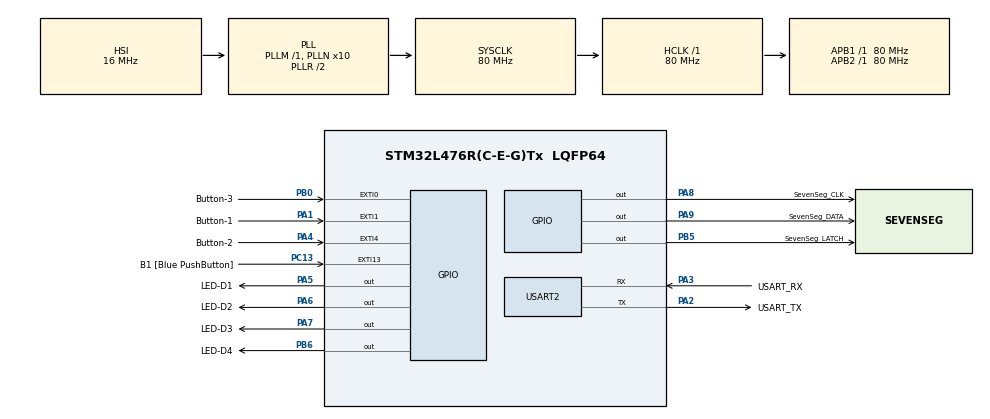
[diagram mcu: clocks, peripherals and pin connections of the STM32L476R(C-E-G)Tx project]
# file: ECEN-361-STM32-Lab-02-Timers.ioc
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Mcu.Family=STM32L4
Mcu.Name=STM32L476R(C-E-G)Tx
Mcu.Package=LQFP64
Mcu.UserConstants=reaction_timer,1
NVIC.EXTI0_IRQn=true\:0\:0\:false\:false\:true\:true\:true\:true
NVIC.EXTI1_IRQn=true\:0\:0\:false\:false\:true\:true\:true\:true
NVIC.EXTI4_IRQn=true\:0\:0\:false\:false\:true\:true\:true\:true
NVIC.PriorityGroup=NVIC_PRIORITYGROUP_4
NVIC.TIM1_TRG_COM_TIM17_IRQn=true\:0\:0\:false\:false\:true\:true\:true\:true
NVIC.TIM1_UP_TIM16_IRQn=true\:0\:0\:false\:false\:true\:true\:true\:true
NVIC.TIM6_DAC_IRQn=true\:0\:0\:false\:false\:true\:true\:true\:true
NVIC.TIM7_IRQn=true\:0\:0\:false\:false\:true\:true\:true\:true
PA0.Signal=ADCx_IN5
PA1.GPIO_Label=Button-1
PA1.GPIO_ModeDefaultEXTI=GPIO_MODE_IT_FALLING
PA1.Signal=GPXTI1
PA13\ (JTMS-SWDIO).GPIO_Label=TMS
PA13\ (JTMS-SWDIO).Mode=Serial_Wire
PA13\ (JTMS-SWDIO).Signal=SYS_JTMS-SWDIO
PA14\ (JTCK-SWCLK).GPIO_Label=TCK
PA14\ (JTCK-SWCLK).Mode=Serial_Wire
PA14\ (JTCK-SWCLK).Signal=SYS_JTCK-SWCLK
PA2.GPIO_Label=USART_TX
PA2.GPIO_Mode=GPIO_MODE_AF_PP
PA2.GPIO_PuPd=GPIO_NOPULL
PA2.GPIO_Speed=GPIO_SPEED_FREQ_VERY_HIGH
PA2.Mode=Asynchronous
PA2.Signal=USART2_TX
PA3.GPIO_Label=USART_RX
PA3.GPIO_Mode=GPIO_MODE_AF_PP
PA3.GPIO_PuPd=GPIO_NOPULL
PA3.GPIO_Speed=GPIO_SPEED_FREQ_VERY_HIGH
PA3.Mode=Asynchronous
PA3.Signal=USART2_RX
PA4.GPIO_Label=Button-2
PA4.GPIO_ModeDefaultEXTI=GPIO_MODE_IT_FALLING
PA4.Signal=GPXTI4
PA5.GPIO_Label=LED-D1
PA5.Signal=GPIO_Output
PA6.GPIO_Label=LED-D2
PA6.Signal=GPIO_Output
PA7.GPIO_Label=LED-D3
PA7.Signal=GPIO_Output
PA8.GPIO_Label=SevenSeg_CLK
PA8.Signal=GPIO_Output
PA9.GPIO_Label=SevenSeg_DATA
PA9.Signal=GPIO_Output
PB0.GPIO_Label=Button-3
PB0.GPIO_ModeDefaultEXTI=GPIO_MODE_IT_FALLING
PB0.Signal=GPXTI0
PB3\ (JTDO-TRACESWO).Signal=SYS_JTDO-SWO
PB5.GPIO_Label=SevenSeg_LATCH
PB5.Signal=GPIO_Output
PB6.GPIO_Label=LED-D4
PB6.Signal=GPIO_Output
PC1.GPIO_Label=LM35_IN
PC1.Signal=ADCx_IN2
PC13.GPIO_Label=B1 [Blue PushButton]
PC13.GPIO_ModeDefaultEXTI=GPIO_MODE_IT_FALLING
PC13.GPIO_PuPd=GPIO_NOPULL
PC13.Signal=GPXTI13
PC14-OSC32_IN\ (PC14).Mode=LSE-External-Oscillator
PC14-OSC32_IN\ (PC14).Signal=RCC_OSC32_IN
PC15-OSC32_OUT\ (PC15).Mode=LSE-External-Oscillator
PC15-OSC32_OUT\ (PC15).Signal=RCC_OSC32_OUT
PH0-OSC_IN\ (PH0).Signal=RCC_OSC_IN
PH1-OSC_OUT\ (PH1).Signal=RCC_OSC_OUT
ProjectManager.HeapSize=0x200
ProjectManager.StackSize=0x400
ProjectManager.TargetToolchain=STM32CubeIDE
RCC.ADCFreq_Value=64000000
RCC.AHBFreq_Value=80000000
RCC.APB1Freq_Value=80000000
RCC.APB1TimFreq_Value=80000000
RCC.APB2Freq_Value=80000000
RCC.APB2TimFreq_Value=80000000
RCC.CortexFreq_Value=80000000
RCC.HCLKFreq_Value=80000000
RCC.HSE_VALUE=8000000
RCC.HSI_VALUE=16000000
RCC.MSI_VALUE=4000000
RCC.PLLN=10
RCC.PLLSourceVirtual=RCC_PLLSOURCE_HSI
RCC.PREFETCH_ENABLE=1
RCC.SYSCLKFreq_VALUE=80000000
RCC.SYSCLKSource=RCC_SYSCLKSOURCE_PLLCLK
RCC.USBFreq_Value=64000000
RCC.VCOOutputFreq_Value=160000000
SH.ADCx_IN2.0=ADC1_IN2
SH.ADCx_IN5.0=ADC2_IN5
TIM16.Period=10000
TIM16.Prescaler=8000 -1
TIM17.Period=100
TIM17.Prescaler=800-1
TIM3.AutoReloadPreload=TIM_AUTORELOAD_PRELOAD_DISABLE
TIM3.Period=65535
TIM3.Prescaler=8000-1
TIM6.Period=8000-1
TIM6.Prescaler=5000-1
TIM7.Period=4000-1
TIM7.Prescaler=5000-1
USART2.VirtualMode-Asynchronous=VM_ASYNC
VP_TIM16_VS_ClockSourceINT.Mode=Enable_Timer
VP_TIM17_VS_ClockSourceINT.Mode=Enable_Timer
VP_TIM3_VS_ClockSourceINT.Mode=Internal
VP_TIM6_VS_ClockSourceINT.Mode=Enable_Timer
VP_TIM7_VS_ClockSourceINT.Mode=Enable_Timer
board=NUCLEO-L476RG

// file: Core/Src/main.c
/* USER CODE BEGIN Header */
/**
  ******************************************************************************
  * @file           : main.c
  * @brief          : Main program body
  ******************************************************************************
  * @attention
  *
  * Copyright (c) 2023 STMicroelectronics.
  * All rights reserved.
  *
  * This software is licensed under terms that can be found in the LICENSE file
  * in the root directory of this software component.
  * If no LICENSE file comes with this software, it is provided AS-IS.
  *
  ******************************************************************************
  */
/* USER CODE END Header */
#include "main.h"

/* USER CODE BEGIN Includes */
#include "MultiFunctionShield.h"
#include <stdio.h>
#include <stdlib.h>
#include <stdbool.h>

/* USER CODE END Includes */

TIM_HandleTypeDef htim3;
TIM_HandleTypeDef htim6;
TIM_HandleTypeDef htim7;
TIM_HandleTypeDef htim16;
TIM_HandleTypeDef htim17;

UART_HandleTypeDef huart2;

/* USER CODE BEGIN PV */
bool got_start_button = false;
bool got_stop_button = false;
bool got_fastest_button = false;
bool start_game = false;

/* USER CODE END PV */

void SystemClock_Config(void);
static void MX_GPIO_Init(void);
static void MX_USART2_UART_Init(void);
static void MX_TIM17_Init(void);
static void MX_TIM16_Init(void);
static void MX_TIM3_Init(void);
static void MX_TIM6_Init(void);
static void MX_TIM7_Init(void);
/* USER CODE BEGIN PFP */
/* Private function prototypes -----------------------------------------------*/
#define PUTCHAR_PROTOTYPE int __io_putchar(int ch)

void HAL_GPIO_EXTI_Callback(uint16_t GPIO_Pin);
void show_a_random_number(void);
void got_start(void);
void got_stop(void);
void got_fastest(void);
int best_reaction_time_in_millisec = 99999;  //Start with something easy to beat

/* USER CODE END PFP */

int main(void)
{

  /* MCU Configuration--------------------------------------------------------*/

  /* Reset of all peripherals, Initializes the Flash interface and the Systick. */
  HAL_Init();

  /* Configure the system clock */
  SystemClock_Config();

  /* Initialize all configured peripherals */
  MX_GPIO_Init();
  MX_USART2_UART_Init();
  MX_TIM17_Init();
  MX_TIM16_Init();
  MX_TIM3_Init();
  MX_TIM6_Init();
  MX_TIM7_Init();
  /* USER CODE BEGIN 2 */

  // Start timer
  HAL_TIM_Base_Start_IT(&htim17);  // LED SevenSeg cycle thru them   DONT CHANGE
  HAL_TIM_Base_Start_IT(&htim16);  // LED-D1 toggle according to Timer16   DONT CHANGE

  /************  STUDENT TO FILL IN HERE START *********************/

  HAL_TIM_Base_Start_IT(&htim6);
  HAL_TIM_Base_Start_IT(&htim7);

  /************  STUDENT TO FILL IN HERE END   *********************/

  MultiFunctionShield_Clear();
  /* USER CODE END 2 */

  /* Infinite loop */
  /* USER CODE BEGIN WHILE */
  Clear_LEDs();
  printf("\033\143");  // clear the terminal before printing
  printf("Hello Lab-2 -- Timers and Interrupts \n\r\n\r");
  srand((unsigned) uwTick );

  while (1)
  {
    /* USER CODE END WHILE */

    /* USER CODE BEGIN 3 */
	// show_a_random_number();
	  while (!got_start_button);
	  got_start();
	  got_start_button = false;
	  bool timed_out = false;
	  while (!got_stop_button){
		if ((__HAL_TIM_GetCounter(&htim3) / 10) >= 6000) // 6 seconds max
		{
			MultiFunctionShield_Clear();
			start_game = false;
			timed_out = true;
			break;
		}
	  }
	  if (!timed_out){
		  got_stop();
		  got_stop_button = false;
	  }
	  MX_TIM3_Init();   // reset the reaction timer

	}
  /* USER CODE END 3 */
}

void SystemClock_Config(void)
{
  RCC_OscInitTypeDef RCC_OscInitStruct = {0};
  RCC_ClkInitTypeDef RCC_ClkInitStruct = {0};

  /** Configure the main internal regulator output voltage
  */
  if (HAL_PWREx_ControlVoltageScaling(PWR_REGULATOR_VOLTAGE_SCALE1) != HAL_OK)
  {
    Error_Handler();
  }

  /** Initializes the RCC Oscillators according to the specified parameters
  * in the RCC_OscInitTypeDef structure.
  */
  RCC_OscInitStruct.OscillatorType = RCC_OSCILLATORTYPE_HSI;
  RCC_OscInitStruct.HSIState = RCC_HSI_ON;
  RCC_OscInitStruct.HSICalibrationValue = RCC_HSICALIBRATION_DEFAULT;
  RCC_OscInitStruct.PLL.PLLState = RCC_PLL_ON;
  RCC_OscInitStruct.PLL.PLLSource = RCC_PLLSOURCE_HSI;
  RCC_OscInitStruct.PLL.PLLM = 1;
  RCC_OscInitStruct.PLL.PLLN = 10;
  RCC_OscInitStruct.PLL.PLLP = RCC_PLLP_DIV7;
  RCC_OscInitStruct.PLL.PLLQ = RCC_PLLQ_DIV2;
  RCC_OscInitStruct.PLL.PLLR = RCC_PLLR_DIV2;
  if (HAL_RCC_OscConfig(&RCC_OscInitStruct) != HAL_OK)
  {
    Error_Handler();
  }

  /** Initializes the CPU, AHB and APB buses clocks
  */
  RCC_ClkInitStruct.ClockType = RCC_CLOCKTYPE_HCLK|RCC_CLOCKTYPE_SYSCLK
                              |RCC_CLOCKTYPE_PCLK1|RCC_CLOCKTYPE_PCLK2;
  RCC_ClkInitStruct.SYSCLKSource = RCC_SYSCLKSOURCE_PLLCLK;
  RCC_ClkInitStruct.AHBCLKDivider = RCC_SYSCLK_DIV1;
  RCC_ClkInitStruct.APB1CLKDivider = RCC_HCLK_DIV1;
  RCC_ClkInitStruct.APB2CLKDivider = RCC_HCLK_DIV1;

  if (HAL_RCC_ClockConfig(&RCC_ClkInitStruct, FLASH_LATENCY_4) != HAL_OK)
  {
    Error_Handler();
  }
}

static void MX_TIM3_Init(void)
{

  TIM_ClockConfigTypeDef sClockSourceConfig = {0};
  TIM_MasterConfigTypeDef sMasterConfig = {0};

  htim3.Instance = TIM3;
  htim3.Init.Prescaler = 8000-1;
  htim3.Init.CounterMode = TIM_COUNTERMODE_UP;
  htim3.Init.Period = 65535;
  htim3.Init.ClockDivision = TIM_CLOCKDIVISION_DIV1;
  htim3.Init.AutoReloadPreload = TIM_AUTORELOAD_PRELOAD_DISABLE;
  if (HAL_TIM_Base_Init(&htim3) != HAL_OK)
  {
    Error_Handler();
  }
  sClockSourceConfig.ClockSource = TIM_CLOCKSOURCE_INTERNAL;
  if (HAL_TIM_ConfigClockSource(&htim3, &sClockSourceConfig) != HAL_OK)
  {
    Error_Handler();
  }
  sMasterConfig.MasterOutputTrigger = TIM_TRGO_RESET;
  sMasterConfig.MasterSlaveMode = TIM_MASTERSLAVEMODE_DISABLE;
  if (HAL_TIMEx_MasterConfigSynchronization(&htim3, &sMasterConfig) != HAL_OK)
  {
    Error_Handler();
  }

}

static void MX_TIM6_Init(void)
{

  TIM_MasterConfigTypeDef sMasterConfig = {0};

  htim6.Instance = TIM6;
  htim6.Init.Prescaler = 5000-1;
  htim6.Init.CounterMode = TIM_COUNTERMODE_UP;
  htim6.Init.Period = 8000-1;
  htim6.Init.AutoReloadPreload = TIM_AUTORELOAD_PRELOAD_DISABLE;
  if (HAL_TIM_Base_Init(&htim6) != HAL_OK)
  {
    Error_Handler();
  }
  sMasterConfig.MasterOutputTrigger = TIM_TRGO_RESET;
  sMasterConfig.MasterSlaveMode = TIM_MASTERSLAVEMODE_DISABLE;
  if (HAL_TIMEx_MasterConfigSynchronization(&htim6, &sMasterConfig) != HAL_OK)
  {
    Error_Handler();
  }

}

static void MX_TIM7_Init(void)
{

  TIM_MasterConfigTypeDef sMasterConfig = {0};

  htim7.Instance = TIM7;
  htim7.Init.Prescaler = 5000-1;
  htim7.Init.CounterMode = TIM_COUNTERMODE_UP;
  htim7.Init.Period = 4000-1;
  htim7.Init.AutoReloadPreload = TIM_AUTORELOAD_PRELOAD_DISABLE;
  if (HAL_TIM_Base_Init(&htim7) != HAL_OK)
  {
    Error_Handler();
  }
  sMasterConfig.MasterOutputTrigger = TIM_TRGO_RESET;
  sMasterConfig.MasterSlaveMode = TIM_MASTERSLAVEMODE_DISABLE;
  if (HAL_TIMEx_MasterConfigSynchronization(&htim7, &sMasterConfig) != HAL_OK)
  {
    Error_Handler();
  }

}

static void MX_TIM16_Init(void)
{

  htim16.Instance = TIM16;
  htim16.Init.Prescaler = 8000 -1;
  htim16.Init.CounterMode = TIM_COUNTERMODE_UP;
  htim16.Init.Period = 10000;
  htim16.Init.ClockDivision = TIM_CLOCKDIVISION_DIV1;
  htim16.Init.RepetitionCounter = 0;
  htim16.Init.AutoReloadPreload = TIM_AUTORELOAD_PRELOAD_DISABLE;
  if (HAL_TIM_Base_Init(&htim16) != HAL_OK)
  {
    Error_Handler();
  }

}

static void MX_TIM17_Init(void)
{

  htim17.Instance = TIM17;
  htim17.Init.Prescaler = 800-1;
  htim17.Init.CounterMode = TIM_COUNTERMODE_UP;
  htim17.Init.Period = 100;
  htim17.Init.ClockDivision = TIM_CLOCKDIVISION_DIV1;
  htim17.Init.RepetitionCounter = 0;
  htim17.Init.AutoReloadPreload = TIM_AUTORELOAD_PRELOAD_DISABLE;
  if (HAL_TIM_Base_Init(&htim17) != HAL_OK)
  {
    Error_Handler();
  }

}

static void MX_USART2_UART_Init(void)
{

  huart2.Instance = USART2;
  huart2.Init.BaudRate = 115200;
  huart2.Init.WordLength = UART_WORDLENGTH_8B;
  huart2.Init.StopBits = UART_STOPBITS_1;
  huart2.Init.Parity = UART_PARITY_NONE;
  huart2.Init.Mode = UART_MODE_TX_RX;
  huart2.Init.HwFlowCtl = UART_HWCONTROL_NONE;
  huart2.Init.OverSampling = UART_OVERSAMPLING_16;
  huart2.Init.OneBitSampling = UART_ONE_BIT_SAMPLE_DISABLE;
  huart2.AdvancedInit.AdvFeatureInit = UART_ADVFEATURE_NO_INIT;
  if (HAL_UART_Init(&huart2) != HAL_OK)
  {
    Error_Handler();
  }

}

static void MX_GPIO_Init(void)
{
  GPIO_InitTypeDef GPIO_InitStruct = {0};

  /* GPIO Ports Clock Enable */
  __HAL_RCC_GPIOC_CLK_ENABLE();
  __HAL_RCC_GPIOH_CLK_ENABLE();
  __HAL_RCC_GPIOA_CLK_ENABLE();
  __HAL_RCC_GPIOB_CLK_ENABLE();

  /*Configure GPIO pin Output Level */
  HAL_GPIO_WritePin(GPIOA, LED_D1_Pin|LED_D2_Pin|LED_D3_Pin|SevenSeg_CLK_Pin
                          |SevenSeg_DATA_Pin, GPIO_PIN_RESET);

  /*Configure GPIO pin Output Level */
  HAL_GPIO_WritePin(GPIOB, SevenSeg_LATCH_Pin|LED_D4_Pin, GPIO_PIN_RESET);

  /*Configure GPIO pin : B1_Pin */
  GPIO_InitStruct.Pin = B1_Pin;
  GPIO_InitStruct.Mode = GPIO_MODE_IT_FALLING;
  GPIO_InitStruct.Pull = GPIO_NOPULL;
  HAL_GPIO_Init(B1_GPIO_Port, &GPIO_InitStruct);

  /*Configure GPIO pin : LM35_IN_Pin */
  GPIO_InitStruct.Pin = LM35_IN_Pin;
  GPIO_InitStruct.Mode = GPIO_MODE_ANALOG_ADC_CONTROL;
  GPIO_InitStruct.Pull = GPIO_NOPULL;
  HAL_GPIO_Init(LM35_IN_GPIO_Port, &GPIO_InitStruct);

  /*Configure GPIO pin : PA0 */
  GPIO_InitStruct.Pin = GPIO_PIN_0;
  GPIO_InitStruct.Mode = GPIO_MODE_ANALOG_ADC_CONTROL;
  GPIO_InitStruct.Pull = GPIO_NOPULL;
  HAL_GPIO_Init(GPIOA, &GPIO_InitStruct);

  /*Configure GPIO pins : Button_1_Pin Button_2_Pin */
  GPIO_InitStruct.Pin = Button_1_Pin|Button_2_Pin;
  GPIO_InitStruct.Mode = GPIO_MODE_IT_FALLING;
  GPIO_InitStruct.Pull = GPIO_NOPULL;
  HAL_GPIO_Init(GPIOA, &GPIO_InitStruct);

  /*Configure GPIO pins : LED_D1_Pin LED_D2_Pin LED_D3_Pin SevenSeg_CLK_Pin
                           SevenSeg_DATA_Pin */
  GPIO_InitStruct.Pin = LED_D1_Pin|LED_D2_Pin|LED_D3_Pin|SevenSeg_CLK_Pin
                          |SevenSeg_DATA_Pin;
  GPIO_InitStruct.Mode = GPIO_MODE_OUTPUT_PP;
  GPIO_InitStruct.Pull = GPIO_NOPULL;
  GPIO_InitStruct.Speed = GPIO_SPEED_FREQ_LOW;
  HAL_GPIO_Init(GPIOA, &GPIO_InitStruct);

  /*Configure GPIO pin : Button_3_Pin */
  GPIO_InitStruct.Pin = Button_3_Pin;
  GPIO_InitStruct.Mode = GPIO_MODE_IT_FALLING;
  GPIO_InitStruct.Pull = GPIO_NOPULL;
  HAL_GPIO_Init(Button_3_GPIO_Port, &GPIO_InitStruct);

  /*Configure GPIO pins : SevenSeg_LATCH_Pin LED_D4_Pin */
  GPIO_InitStruct.Pin = SevenSeg_LATCH_Pin|LED_D4_Pin;
  GPIO_InitStruct.Mode = GPIO_MODE_OUTPUT_PP;
  GPIO_InitStruct.Pull = GPIO_NOPULL;
  GPIO_InitStruct.Speed = GPIO_SPEED_FREQ_LOW;
  HAL_GPIO_Init(GPIOB, &GPIO_InitStruct);

  /* EXTI interrupt init*/
  HAL_NVIC_SetPriority(EXTI0_IRQn, 0, 0);
  HAL_NVIC_EnableIRQ(EXTI0_IRQn);

  HAL_NVIC_SetPriority(EXTI1_IRQn, 0, 0);
  HAL_NVIC_EnableIRQ(EXTI1_IRQn);

  HAL_NVIC_SetPriority(EXTI4_IRQn, 0, 0);
  HAL_NVIC_EnableIRQ(EXTI4_IRQn);

}

/* USER CODE BEGIN 4 */

/**
  * @brief  Retargets the C library printf function to the USART.
  * @param  None
  * @retval None
  */
PUTCHAR_PROTOTYPE
{
  /* Place your implementation of fputc here */
  /* e.g. write a character to the USART1 and Loop until the end of transmission */
  HAL_UART_Transmit(&huart2, (uint8_t *)&ch, 1, 0xFFFF);

  return ch;
}

void HAL_GPIO_EXTI_Callback(uint16_t GPIO_Pin)
	{
	// All three buttons generate GPIO interrupts
	// Don't spend much time in the ISR because there are other interrupts happening
	switch(GPIO_Pin)
	{
	case Button_1_Pin:
		got_start_button = true;
		break;
	case Button_2_Pin:
		if (!start_game) break;
		got_stop_button = true;
		break;
	case Button_3_Pin:
		// Here's the code for the Show Fastest button --
		got_fastest_button = true;
		MultiFunctionShield_Display(best_reaction_time_in_millisec);
		break;
	default:
      __NOP();
	}
}

// Callback: timer has rolled over
void HAL_TIM_PeriodElapsedCallback(TIM_HandleTypeDef *htim)
{
// Check which version of the timer triggered this callback and toggle the right LED
  if (htim == &htim16 )
  {
	HAL_GPIO_TogglePin(LED_D1_GPIO_Port, LED_D1_Pin);
  }
  if (htim == &htim6 )
  {
	HAL_GPIO_TogglePin(LED_D2_GPIO_Port, LED_D2_Pin);
  }
  if (htim == &htim7 )
  {
	HAL_GPIO_TogglePin(LED_D3_GPIO_Port, LED_D3_Pin);
  }

/** This timer has to be here to cycle thru the 7-Seg LED displays **/
  if (htim == &htim17 )
  {
	  MultiFunctionShield__ISRFunc();
  }

}

/* USER CODE END 4 */

void Error_Handler(void)
{
  __disable_irq();
  while (1)
  {
  }
}
